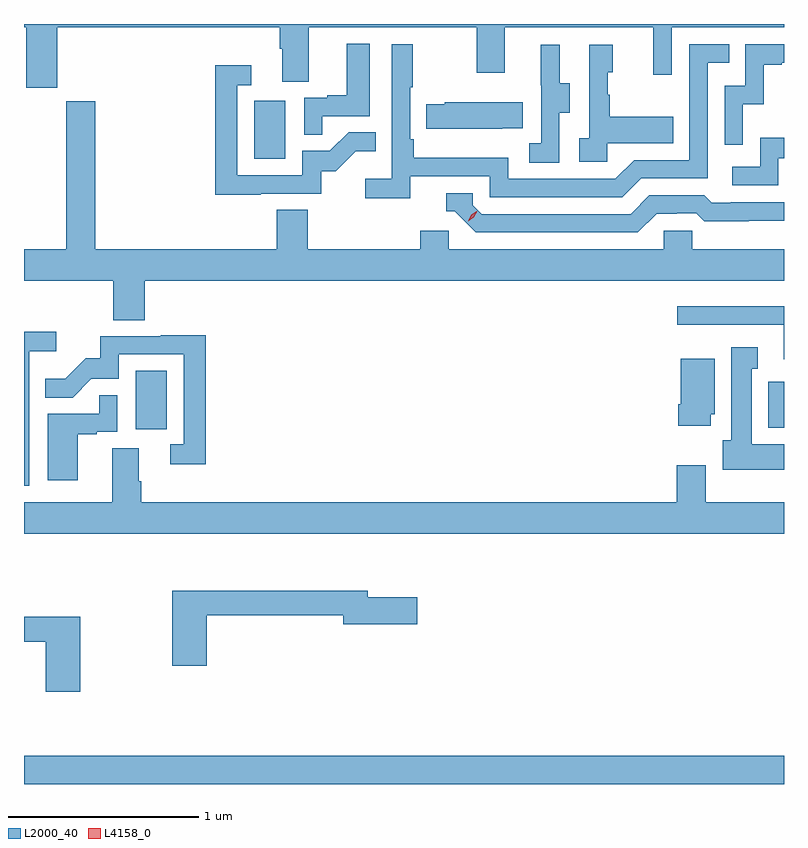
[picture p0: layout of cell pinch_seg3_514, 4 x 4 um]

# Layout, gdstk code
import gdstk
lib = gdstk.Library(unit=1e-6, precision=1e-09)
def R(c, l, rs):  # rectangles x0, y0, x1, y1
    for r in rs: c.add(gdstk.rectangle(r[:2], r[2:], *l))
def P(c, l, *ps):  # polygons
    for p in ps: c.add(gdstk.Polygon(p, *l))
L2000_40 = (2000, 40)
L4158_0 = (4158, 0)

pinch_seg3_514 = lib.new_cell('pinch_seg3_514')
R(pinch_seg3_514, L2000_40, [(982.844,679.618,986.844,679.768), (983.432,681.486,983.596,681.793), (986.762,681.494,986.844,681.736), (984.056,682.908,984.22,683.215)])
P(pinch_seg3_514, L2000_40, [(983.02,683.6),(984.191,683.6),(984.191,683.488),(984.203,683.488),(984.203,683.314),(984.343,683.314),(984.343,683.6),(985.228,683.6),(985.228,683.361),(985.375,683.361),(985.375,683.6),(986.156,683.6),(986.156,683.352),(986.253,683.352),(986.253,683.6),(986.844,683.6),(986.844,683.618),(982.844,683.618),(982.844,683.6),(982.856,683.6),(982.856,683.283),(983.02,683.283)],
  [(984.413,683.133),(984.664,683.133),(984.664,683.515),(984.542,683.515),(984.542,683.242),(984.439,683.242),(984.439,683.229),(984.318,683.229),(984.318,683.035),(984.413,683.035)],
  [(984.878,682.818),(985.296,682.818),(985.296,682.707),(985.993,682.707),(986.092,682.806),(986.442,682.806),(986.442,683.415),(986.555,683.415),(986.555,683.511),(986.346,683.511),(986.346,682.902),(986.055,682.902),(985.956,682.803),(985.392,682.803),(985.392,682.915),(984.896,682.915),(984.896,683.011),(984.876,683.011),(984.876,683.284),(984.889,683.284),(984.889,683.512),(984.78,683.512),(984.78,682.804),(984.639,682.804),(984.639,682.702),(984.878,682.702)],
  [(986.628,683.195),(986.738,683.195),(986.738,683.403),(986.833,683.403),(986.833,683.415),(986.844,683.415),(986.844,683.511),(986.64,683.511),(986.64,683.292),(986.532,683.292),(986.532,682.983),(986.628,682.983)],
  [(985.662,683.152),(985.717,683.152),(985.717,683.307),(985.663,683.307),(985.663,683.509),(985.565,683.509),(985.565,683.295),(985.566,683.295),(985.566,682.991),(985.503,682.991),(985.503,682.888),(985.662,682.888)],
  [(985.914,682.991),(986.261,682.991),(986.261,683.131),(985.927,683.131),(985.927,683.246),(985.917,683.246),(985.917,683.364),(985.942,683.364),(985.942,683.509),(985.818,683.509),(985.818,683.018),(985.767,683.018),(985.767,682.893),(985.914,682.893)],
  [(984.089,682.725),(984.408,682.725),(984.408,682.842),(984.484,682.842),(984.591,682.949),(984.695,682.949),(984.695,683.048),(984.552,683.048),(984.454,682.95),(984.309,682.95),(984.309,682.821),(983.967,682.821),(983.967,683.295),(984.04,683.295),(984.04,683.401),(983.851,683.401),(983.851,682.72),(984.089,682.72)],
  [(983.48,682.268),(986.844,682.268),(986.844,682.432),(986.361,682.432),(986.361,682.53),(986.211,682.53),(986.211,682.432),(985.08,682.432),(985.08,682.53),(984.929,682.53),(984.929,682.432),(984.338,682.432),(984.338,682.64),(984.173,682.64),(984.173,682.432),(983.219,682.432),(983.219,683.211),(983.066,683.211),(983.066,682.432),(982.844,682.432),(982.844,682.268),(983.315,682.268),(983.315,682.06),(983.48,682.06)],
  [(985.361,683.069),(985.469,683.069),(985.469,683.206),(985.059,683.206),(985.059,683.196),(984.961,683.196),(984.961,683.066),(985.361,683.066)],
  [(986.814,682.911),(986.844,682.911),(986.844,683.02),(986.718,683.02),(986.718,682.866),(986.571,682.866),(986.571,682.77),(986.814,682.77)],
  [(986.173,682.62),(986.28,682.62),(986.28,682.623),(986.383,682.623),(986.425,682.581),(986.658,682.581),(986.658,682.583),(986.844,682.583),(986.844,682.68),(986.563,682.68),(986.563,682.677),(986.464,682.677),(986.425,682.716),(986.136,682.716),(986.037,682.617),(985.254,682.617),(985.206,682.665),(985.206,682.728),(985.067,682.728),(985.067,682.632),(985.11,682.632),(985.221,682.521),(986.074,682.521)],
  [(986.844,682.132),(986.283,682.132),(986.283,682.035),(986.843,682.035),(986.843,681.854),(986.844,681.854)],
  [(982.872,681.896),(983.014,681.896),(983.014,681.998),(982.844,681.998),(982.844,681.189),(982.872,681.189)],
  [(983.801,681.98),(983.563,681.98),(983.563,681.975),(983.245,681.975),(983.245,681.858),(983.168,681.858),(983.061,681.751),(982.957,681.751),(982.957,681.652),(983.101,681.652),(983.199,681.75),(983.343,681.75),(983.343,681.879),(983.685,681.879),(983.685,681.405),(983.613,681.405),(983.613,681.3),(983.801,681.3)],
  [(986.844,681.406),(986.674,681.406),(986.674,681.803),(986.707,681.803),(986.707,681.916),(986.567,681.916),(986.567,681.426),(986.522,681.426),(986.522,681.272),(986.844,681.272)],
  [(986.458,681.564),(986.479,681.564),(986.479,681.856),(986.3,681.856),(986.3,681.616),(986.288,681.616),(986.288,681.504),(986.458,681.504)],
  [(983.128,681.459),(983.228,681.459),(983.228,681.471),(983.334,681.471),(983.334,681.665),(983.239,681.665),(983.239,681.567),(982.97,681.567),(982.97,681.216),(983.128,681.216)],
  [(986.844,681.1),(986.431,681.1),(986.431,681.295),(986.279,681.295),(986.279,681.1),(983.462,681.1),(983.462,681.212),(983.449,681.212),(983.449,681.386),(983.309,681.386),(983.309,681.1),(982.844,681.1),(982.844,680.936),(986.844,680.936)],
  [(983.807,680.506),(984.524,680.506),(984.524,680.459),(984.913,680.459),(984.913,680.601),(984.652,680.601),(984.652,680.635),(983.624,680.635),(983.624,680.241),(983.807,680.241)],
  [(983.141,680.497),(982.844,680.497),(982.844,680.368),(982.958,680.368),(982.958,680.103),(983.141,680.103)])
P(pinch_seg3_514, L4158_0, [(985.181,682.581),(985.181,682.581),(985.197,682.613),(985.228,682.632),(985.229,682.632),(985.229,682.632),(985.212,682.6),(985.181,682.581)])

lib.write_gds('pinch_seg3_514.gds')
